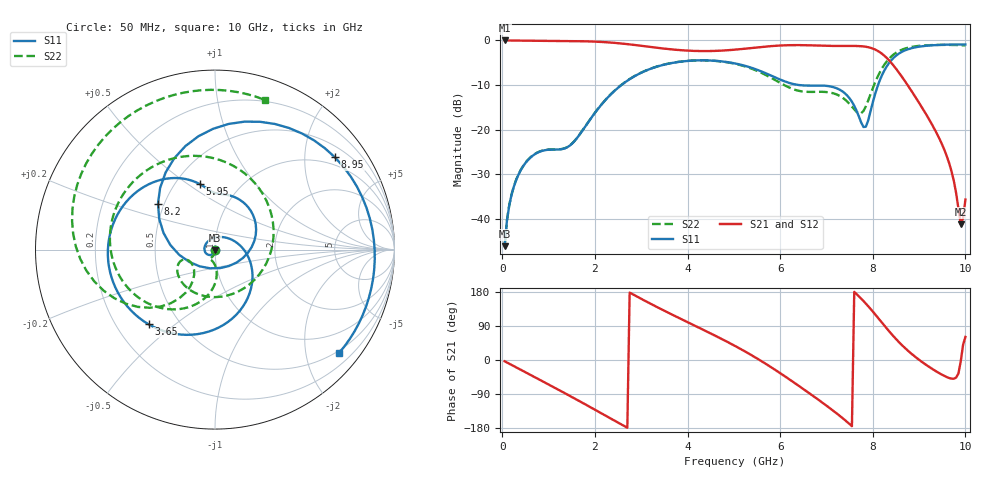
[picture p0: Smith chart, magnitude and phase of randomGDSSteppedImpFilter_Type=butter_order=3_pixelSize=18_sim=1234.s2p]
! freq	dB(S11)	phase(S11)	dB(S12)	phase(S12)
!  dB(S21)	phase(S21)	dB(S22)	phase(S22)
!S-par simulation data
#  GHz  S  DB  R 50
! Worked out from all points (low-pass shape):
!   200 points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, 50 MHz to 10 GHz, reference 50 ohm
!   highest |S21| = -0.01 dB at 50 MHz (marker M1); lowest = -41.2 dB at 9.9 GHz (marker M2)
!   |S21| within 3 dB of the highest: start of sweep to 8.201 GHz
!   lowest |S11| = -46.1 dB at 50 MHz (marker M3), VSWR 1.01, Z = 50 - j0.493 ohm
!   |S11| at or under -10 dB: start of sweep to 2.573 GHz; 6.403 GHz to 8.114 GHz (1.712 GHz wide, 23.6 % of centre)
!   |S22| runs from -46.1 to -1.0 dB; largest |S21 - S12| = 0
!   S11 on the Smith chart (normalised r, x): 50 MHz: 1.00, -0.01; 3.65 GHz: 0.34, -0.41; 5.95 GHz: 0.66, +0.56; 8.2 GHz: 0.46, +0.29; 8.95 GHz: 0.77, +2.74; 10 GHz: 0.45, -2.71
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0.05  -46.15 -89.7  -0.01 -3.3  -0.01 -3.3  -46.12 -86.9
0.2  -34.61 -106.1  -0.02 -13.0  -0.02 -13.0  -34.54 -97.3
0.45  -28.22 -129.7  -0.05 -29.1  -0.05 -29.1  -28.15 -108.5
1.15  -24.48 148.7  -0.10 -74.4  -0.10 -74.4  -24.44 -119.1
1.75  -19.93 37.2  -0.18 -114.2  -0.18 -114.2  -19.90 -87.2
2.55  -10.18 -51.4  -0.66 -168.6  -0.66 -168.6  -10.15 -107.4
3.4  -5.69 -115.3  -1.72 136.0  -1.72 136.0  -5.67 -153.3
3.65  -5.09 -131.6  -2.00 120.8  -2.00 120.8  -5.06 -167.2
4.35  -4.46 -173.9  -2.39 79.1  -2.39 79.1  -4.46 152.7
5.05  -5.21 146.2  -2.04 35.5  -2.04 35.5  -5.30 106.6
5.95  -8.55 102.9  -1.17 -30.6  -1.17 -30.6  -9.23 19.2
6.7  -10.12 80.3  -1.11 -93.9  -1.11 -93.9  -11.55 -89.3
7.15  -10.48 51.4  -1.23 -134.2  -1.23 -134.2  -11.87 -140.6
7.6  -14.67 -5.3  -1.24 179.8  -1.24 179.8  -15.48 -160.7
7.85  -19.36 -104.3  -1.42 148.9  -1.42 148.9  -14.79 -129.5
8.2  -7.78 141.0  -3.00 98.3  -3.00 98.3  -6.25 -138.2
8.35  -5.08 114.1  -4.45 76.2  -4.45 76.2  -4.11 -154.2
8.6  -2.72 77.1  -7.72 42.9  -7.72 42.9  -2.21 178.7
8.95  -1.48 37.7  -13.17 5.2  -13.17 5.2  -1.28 146.3
9.6  -0.94 -14.1  -26.01 -45.2  -26.01 -45.2  -1.00 98.3
9.9  -0.91 -33.5  -41.24 -3.2  -41.24 -3.2  -1.07 78.1
10  -0.92 -39.7  -35.70 60.9  -35.70 60.9  -1.12 71.4
